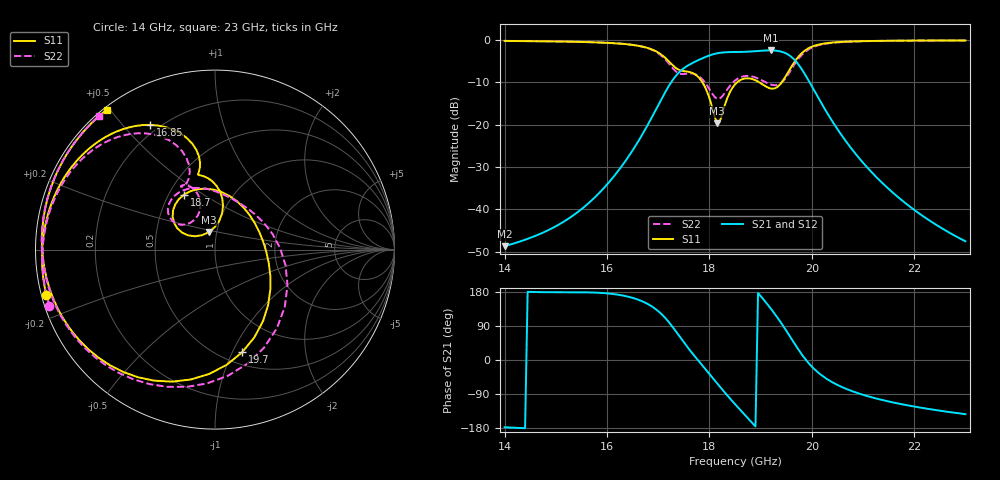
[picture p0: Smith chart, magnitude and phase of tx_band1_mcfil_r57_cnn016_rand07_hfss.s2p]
! Touchstone file exported from HFSS 3D Layout Design 2026.1.0
!  File:  D:/Work/SIM/ADS_AUTO_SIM/projects/RFSOC_RF/TX_Fillter.aedt
!  Generated:  05:53:46 AM Aug 31, 2026
!  Design:  TX_BAND1_MCFIL_R57_CNN016
!  Project:  TX_Fillter
# GHz S MA R 50.000000
! Terminal data exported
! Port[1] = Port1
! Port[2] = Port2
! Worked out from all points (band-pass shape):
!   181 points, 14 GHz to 23 GHz, reference 50 ohm
!   highest |S21| = -2.47 dB at 19.2 GHz (marker M1); lowest = -48.7 dB at 14 GHz (marker M2)
!   |S21| within 3 dB of the highest: 17.67 GHz to 19.72 GHz (2.051 GHz wide, 11 % of centre)
!   lowest |S11| = -19.7 dB at 18.15 GHz (marker M3), VSWR 1.23, Z = 45.9 + j9.08 ohm
!   |S11| at or under -10 dB: 17.86 GHz to 18.54 GHz (680 MHz wide, 3.74 % of centre); 18.97 GHz to 19.41 GHz (438.6 MHz wide, 2.29 % of centre)
!   |S22| runs from -13.9 to -0.1 dB; largest |S21 - S12| = 1.8e-14
!   S11 on the Smith chart (normalised r, x): 14 GHz: 0.01, -0.13; 16.85 GHz: 0.17, +0.59; 18.7 GHz: 0.60, +0.42; 19.7 GHz: 0.62, -1.09; 23 GHz: 0.01, +0.49
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14  0.9731 -165.1  0.003686 -177.4  0.003686 -177.4  0.9741 -161.3
15.5  0.9465 164.3  0.01006 178.7  0.01006 178.7  0.9481 169.2
16.3  0.8994 141.3  0.03314 170.4  0.03314 170.4  0.9005 146.9
16.85  0.7835 117.5  0.1142 143.6  0.1142 143.6  0.7777 123.5
17  0.7097 109.4  0.1694 129.0  0.1694 129.0  0.6969 115.4
17.25  0.5266 99.7  0.3143 92.7  0.3143 92.7  0.491 107.1
17.5  0.4279 102.7  0.4629 46.8  0.4629 46.8  0.3953 117.7
17.85  0.3258 85.2  0.6027 -12.3  0.6027 -12.3  0.3486 108.7
18.15  0.1035 108.9  0.6948 -61.4  0.6948 -61.4  0.2017 124.4
18.3  0.1696 152.1  0.7144 -85.7  0.7144 -85.7  0.2365 144.1
18.5  0.2984 142.3  0.7198 -116.5  0.7198 -116.5  0.331 142.1
18.7  0.3516 119.4  0.7238 -145.8  0.7238 -145.8  0.3753 126.9
18.95  0.3226 83.3  0.7408 176.8  0.7408 176.8  0.351 102.5
19.2  0.2664 33.9  0.7524 135.5  0.7524 135.5  0.2977 70.4
19.45  0.3404 -25.2  0.7125 88.1  0.7125 88.1  0.3321 15.1
19.7  0.5919 -75.2  0.5489 35.4  0.5489 35.4  0.5574 -51.8
19.85  0.7366 -100.6  0.4075 6.4  0.4075 6.4  0.7069 -84.2
20  0.831 -121.2  0.2845 -17.3  0.2845 -17.3  0.8097 -109.2
20.25  0.9084 -146.0  0.1544 -46.0  0.1544 -46.0  0.8973 -137.9
20.55  0.9456 -165.8  0.08005 -69.0  0.08005 -69.0  0.9404 -159.9
21.5  0.9776 158.7  0.01748 -109.4  0.01748 -109.4  0.9766 162.6
23  0.9855 127.7  0.00421 -142.9  0.00421 -142.9  0.985 130.8
